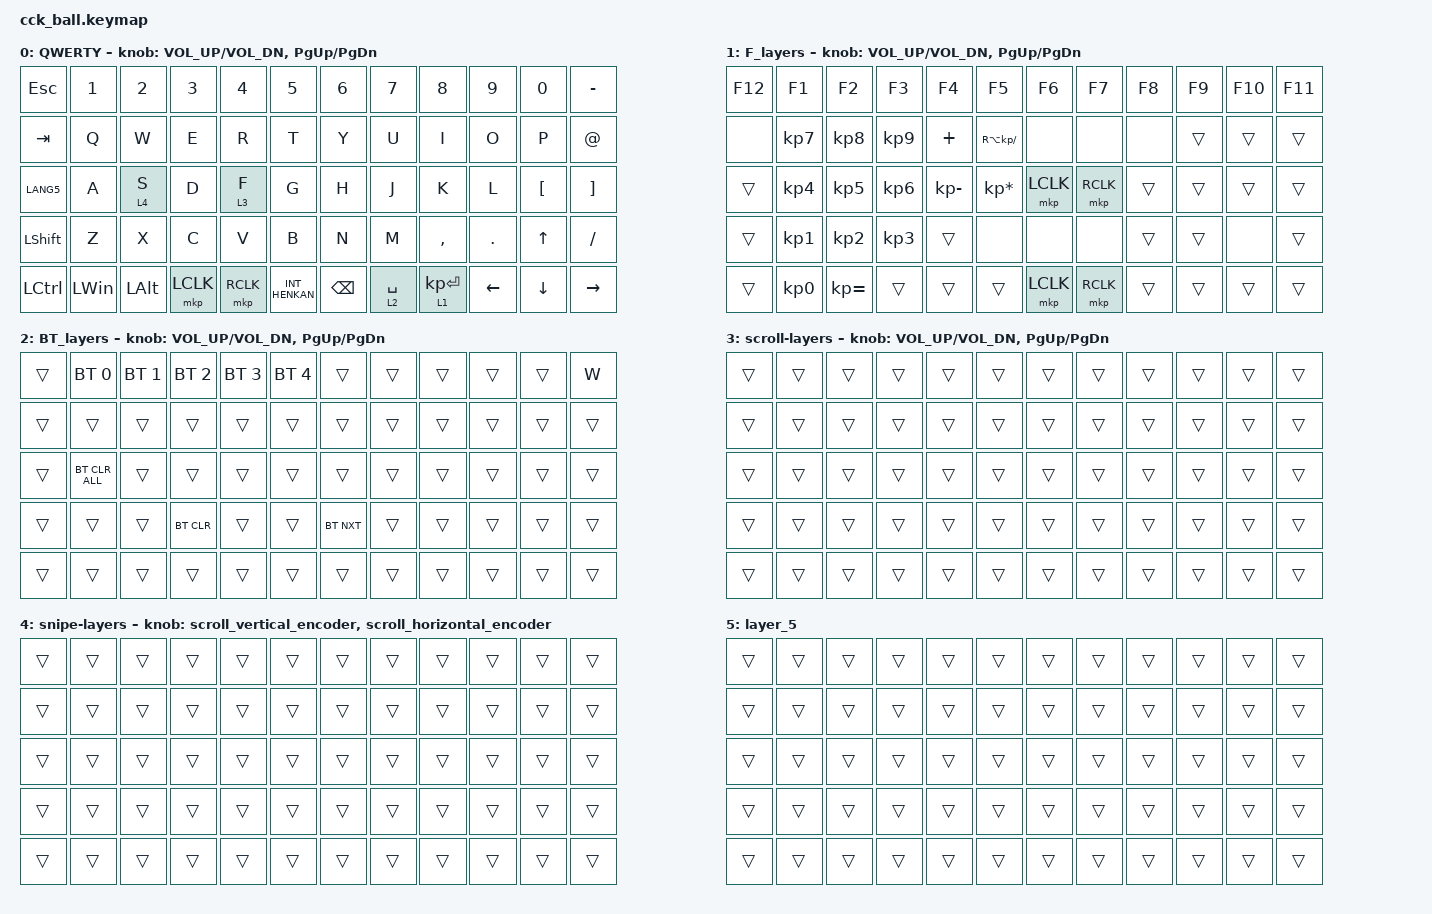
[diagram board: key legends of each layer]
#define ZMK_POINTING_DEFAULT_MOVE_VAL 1000 // 600
#define ZMK_POINTING_DEFAULT_SCRL_VAL 12   // 10

#include <input/processors.dtsi>
#include <zephyr/dt-bindings/input/input-event-codes.h>
#include <behaviors.dtsi>
#include <dt-bindings/zmk/bt.h>
#include <dt-bindings/zmk/keys.h>
#include <dt-bindings/zmk/pointing.h>

&mmv_input_listener { input-processors = <&zip_xy_scaler 2 1>; };

&msc_input_listener { input-processors = <&zip_scroll_scaler 2 1>; };

&msc {
    acceleration-exponent = <0>;      // 0
    time-to-max-speed-ms = <300>;       // 300
    delay-ms = <0>;                   // 0
};

&mmv {
    time-to-max-speed-ms = <500>;
    acceleration-exponent = <1>;
    trigger-period-ms = <16>;
};

&soft_off { hold-time-ms = <2000>; };

/ {
    // 上下滚动编码器行为

    scroll_vertical_encoder: scroll_vertical_encoder {
        compatible = "zmk,behavior-sensor-rotate";
        #sensor-binding-cells = <0>;
        bindings = <&msc SCRL_DOWN>, <&msc SCRL_UP>;

        tap-ms = <100>;
    };

    // 左右滚动编码器行为

    scroll_horizontal_encoder: scroll_horizontal_encoder {
        compatible = "zmk,behavior-sensor-rotate";
        #sensor-binding-cells = <0>;
        bindings = <&msc SCRL_LEFT>, <&msc SCRL_RIGHT>;

        tap-ms = <100>;
    };

    behaviors {
    };

    keymap {
        compatible = "zmk,keymap";

        QWERTY {
            bindings = <
&kp ESC           &kp NUMBER_1  &kp NUMBER_2  &kp NUMBER_3  &kp NUMBER_4  &kp NUMBER_5    &kp NUMBER_6   &kp N7       &kp NUMBER_8    &kp NUMBER_9    &kp N0            &kp MINUS
&kp TAB           &kp Q         &kp W         &kp E         &kp R         &kp T           &kp Y          &kp U        &kp I           &kp O           &kp P             &kp AT
&kp LANG5         &kp A         &lt 4 S       &kp D         &lt 3 F       &kp G           &kp H          &kp J        &kp K           &kp L           &kp LEFT_BRACKET  &kp RBKT
&kp LEFT_SHIFT    &kp Z         &kp X         &kp C         &kp V         &kp B           &kp N          &kp M        &kp COMMA       &kp DOT         &kp UP_ARROW      &kp SLASH
&kp LEFT_CONTROL  &kp LEFT_WIN  &kp LEFT_ALT  &mkp LCLK     &mkp RCLK     &kp INT_HENKAN  &kp BACKSPACE  &lt 2 SPACE  &lt 1 KP_ENTER  &kp LEFT_ARROW  &kp DOWN_ARROW    &kp RIGHT_ARROW
            >;

            sensor-bindings = <&inc_dec_kp C_VOL_UP C_VOL_DN &inc_dec_kp PG_UP PG_DN>;
        };

        F_layers {
            bindings = <
&kp F12  &kp F1           &kp F2           &kp F3           &kp F4        &kp F5             &kp F6     &kp F7     &kp F8  &kp F9  &kp F10  &kp F11
&none    &kp KP_NUMBER_7  &kp KP_NUMBER_8  &kp KP_NUMBER_9  &kp PLUS      &kp RA(KP_DIVIDE)  &none      &none      &none   &trans  &trans   &trans
&trans   &kp KP_NUMBER_4  &kp KP_NUMBER_5  &kp KP_NUMBER_6  &kp KP_MINUS  &kp KP_MULTIPLY    &mkp LCLK  &mkp RCLK  &trans  &trans  &trans   &trans
&trans   &kp KP_NUMBER_1  &kp KP_NUMBER_2  &kp KP_NUMBER_3  &trans        &none              &none      &none      &trans  &trans  &none    &trans
&trans   &kp KP_NUMBER_0  &kp KP_EQUAL     &trans           &trans        &trans             &mkp LCLK  &mkp RCLK  &trans  &trans  &trans   &trans
            >;

            sensor-bindings = <&inc_dec_kp C_VOL_UP C_VOL_DN &inc_dec_kp PG_UP PG_DN>;
        };

        BT_layers {
            bindings = <
&trans  &bt BT_SEL 0    &bt BT_SEL 1  &bt BT_SEL 2  &bt BT_SEL 3  &bt BT_SEL 4  &trans      &trans  &trans  &trans  &trans  &kp W
&trans  &trans          &trans        &trans        &trans        &trans        &trans      &trans  &trans  &trans  &trans  &trans
&trans  &bt BT_CLR_ALL  &trans        &trans        &trans        &trans        &trans      &trans  &trans  &trans  &trans  &trans
&trans  &trans          &trans        &bt BT_CLR    &trans        &trans        &bt BT_NXT  &trans  &trans  &trans  &trans  &trans
&trans  &trans          &trans        &trans        &trans        &trans        &trans      &trans  &trans  &trans  &trans  &trans
            >;

            sensor-bindings = <&inc_dec_kp C_VOL_UP C_VOL_DN &inc_dec_kp PG_UP PG_DN>;
        };

        scroll-layers {
            bindings = <
&trans  &trans  &trans  &trans  &trans  &trans  &trans  &trans  &trans  &trans  &trans  &trans
&trans  &trans  &trans  &trans  &trans  &trans  &trans  &trans  &trans  &trans  &trans  &trans
&trans  &trans  &trans  &trans  &trans  &trans  &trans  &trans  &trans  &trans  &trans  &trans
&trans  &trans  &trans  &trans  &trans  &trans  &trans  &trans  &trans  &trans  &trans  &trans
&trans  &trans  &trans  &trans  &trans  &trans  &trans  &trans  &trans  &trans  &trans  &trans
            >;

            sensor-bindings = <&inc_dec_kp C_VOL_UP C_VOL_DN &inc_dec_kp PG_UP PG_DN>;
        };

        snipe-layers {
            bindings = <
&trans  &trans  &trans  &trans  &trans  &trans  &trans  &trans  &trans  &trans  &trans  &trans
&trans  &trans  &trans  &trans  &trans  &trans  &trans  &trans  &trans  &trans  &trans  &trans
&trans  &trans  &trans  &trans  &trans  &trans  &trans  &trans  &trans  &trans  &trans  &trans
&trans  &trans  &trans  &trans  &trans  &trans  &trans  &trans  &trans  &trans  &trans  &trans
&trans  &trans  &trans  &trans  &trans  &trans  &trans  &trans  &trans  &trans  &trans  &trans
            >;

            sensor-bindings =
                <&scroll_vertical_encoder>,
                // 编码器1：上下滚动,,,
                <&scroll_horizontal_encoder>;

            // 编码器2：左右滚动
        };

        layer_5 {
            bindings = <
&trans  &trans  &trans  &trans  &trans  &trans  &trans  &trans  &trans  &trans  &trans  &trans
&trans  &trans  &trans  &trans  &trans  &trans  &trans  &trans  &trans  &trans  &trans  &trans
&trans  &trans  &trans  &trans  &trans  &trans  &trans  &trans  &trans  &trans  &trans  &trans
&trans  &trans  &trans  &trans  &trans  &trans  &trans  &trans  &trans  &trans  &trans  &trans
&trans  &trans  &trans  &trans  &trans  &trans  &trans  &trans  &trans  &trans  &trans  &trans
            >;
        };
    };
};
